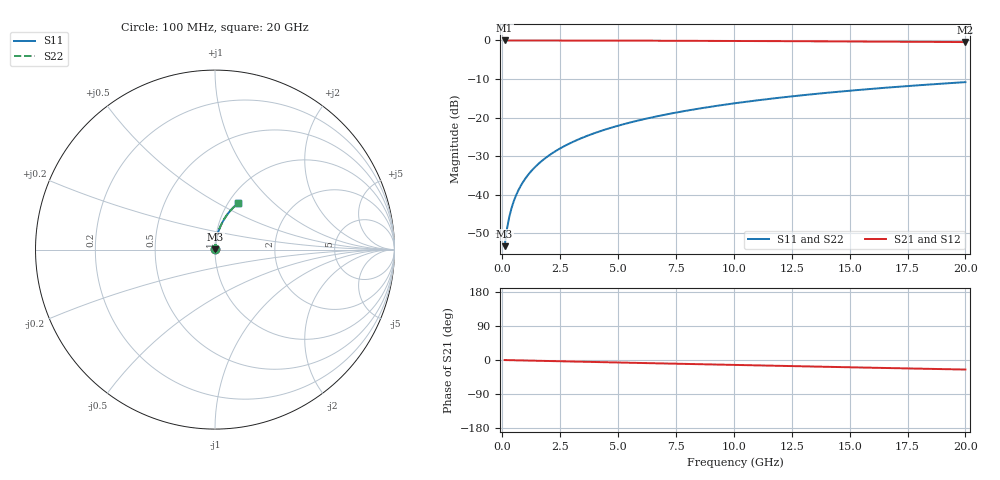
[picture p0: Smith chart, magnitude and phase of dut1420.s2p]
! Touchstone file exported from HFSS 2026.1.0
!  File:  C:/ffzhzh/LocalFiles/Ansys_Project_Files/temp_train_TMRDL_1420_1783166688_55132.aedt
!  Generated:  08:06:01 PM Jul  4, 2026
!  Design:  TMRDL
!  Project:  temp_train_TMRDL_1420_1783166688_55132
! Variables:
!  h_bsmrdl = 2um
!  h_ox = 20um
!  h_rdl = 5um
!  h_sub = 80um
!  h_tmrdl = 4.83um
!  h_tsv = 80um
!  h_via = 3um
!  l_bsmrdl = 300um
!  l_sub = 700.98um
!  l_tmrdl = 300.98um
!  m_sub = 200um
!  pitch = 56.47um
!  r_tsv = 6um
!  s_tmrdl = 10um
!  w_bsmrdl = 18um
!  w_sub = 500um
!  w_tmrdl = 18um
!  x_tsv_center1 = 309.98um
!  x_tsv_center2 = 627.98um
!  x_tsv_center3 = 946.96um
!  x_tsv_center4 = 1264.96um
!  x_tsv_center5 = 1583.94um
!  x_tsv_center6 = 1901.94um
# GHz S MA R 50.000000
! Terminal data exported
! Port[1] = TM_RDL1_1_T1
! Port[2] = TM_RDL1_1_T2
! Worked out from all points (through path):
!   200 points, 100 MHz to 20 GHz, reference 50 ohm
!   highest |S21| = -0.01 dB at 100 MHz (marker M1); lowest = -0.4 dB at 20 GHz (marker M2)
!   group delay of S21, straight-line fit = 3.5 ps
!   lowest |S11| = -53.3 dB at 100 MHz (marker M3), VSWR 1.00, Z = 50.1 + j0.167 ohm
!   |S11| at or under -10 dB: start of sweep to end of sweep
!   |S22| runs from -53.3 to -10.8 dB; largest |S21 - S12| = 6e-15
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0.1  0.002154 50.8  0.9986 -0.1  0.9986 -0.1  0.002154 50.8
! Gamma 0 0 0 0
! Port Impedance 50 0 50 0
0.2  0.003586 67.7  0.9986 -0.3  0.9986 -0.3  0.003585 67.7
0.3  0.005138 74.5  0.9985 -0.4  0.9985 -0.4  0.005134 74.5
0.4  0.00672 78.0  0.9985 -0.5  0.9985 -0.5  0.006715 78.0
0.5  0.008312 80.0  0.9984 -0.7  0.9984 -0.7  0.008307 80.0
0.7  0.0115 82.0  0.9983 -0.9  0.9983 -0.9  0.0115 82.0
0.8  0.0131 82.6  0.9983 -1.1  0.9983 -1.1  0.01309 82.6
1  0.01628 83.3  0.9982 -1.3  0.9982 -1.3  0.01628 83.3
1.2  0.01945 83.7  0.9981 -1.6  0.9981 -1.6  0.01945 83.7
1.4  0.02261 83.9  0.998 -1.9  0.998 -1.9  0.02261 83.9
1.7  0.02734 84.0  0.9978 -2.3  0.9978 -2.3  0.02734 84.0
2  0.03205 83.9  0.9976 -2.7  0.9976 -2.7  0.03205 83.9
2.7  0.04298 83.5  0.9969 -3.6  0.9969 -3.6  0.04298 83.5
3.5  0.05539 82.8  0.996 -4.6  0.996 -4.6  0.05539 82.8
4.2  0.06618 82.1  0.9951 -5.6  0.9951 -5.6  0.06618 82.1
5  0.07841 81.2  0.9939 -6.6  0.9939 -6.6  0.07841 81.2
6.8  0.1056 79.1  0.9907 -8.9  0.9907 -8.9  0.1056 79.1
8.3  0.1278 77.3  0.9876 -10.8  0.9876 -10.8  0.1278 77.3
10.1  0.1541 75.2  0.9834 -13.1  0.9834 -13.1  0.1541 75.2
13.4  0.2008 71.3  0.9743 -17.2  0.9743 -17.2  0.2008 71.3
16.7  0.2455 67.4  0.9636 -21.3  0.9636 -21.3  0.2455 67.4
20  0.2879 63.5  0.9514 -25.2  0.9514 -25.2  0.2879 63.5
